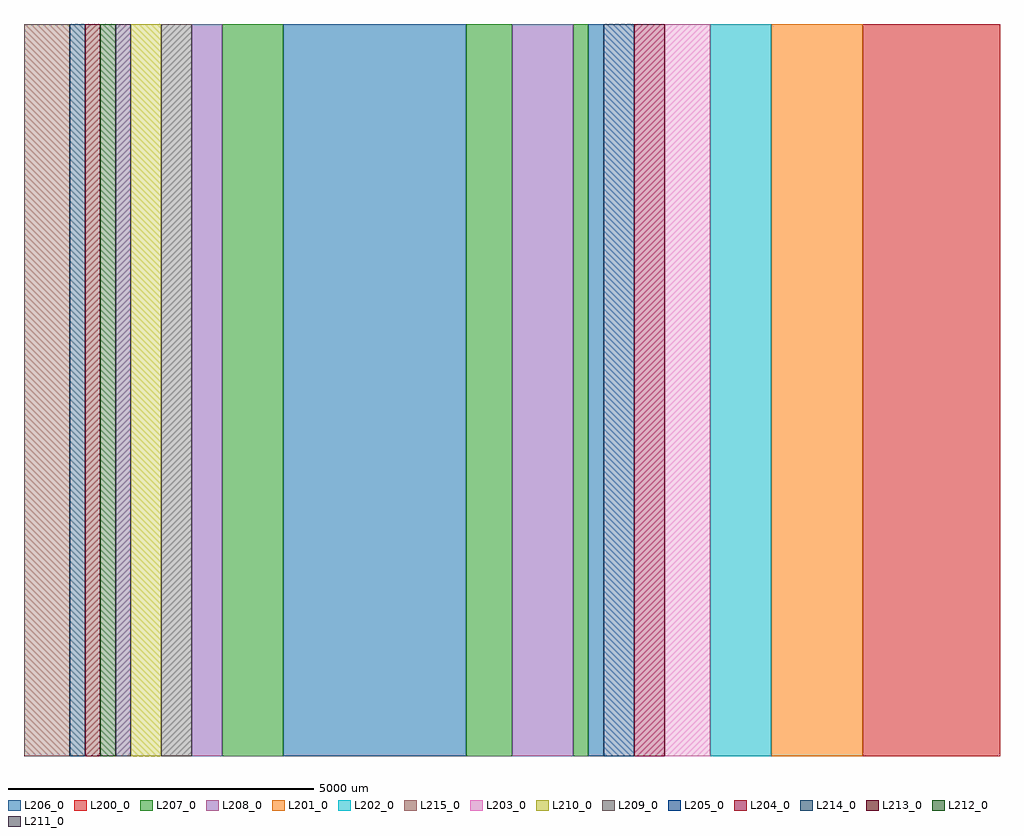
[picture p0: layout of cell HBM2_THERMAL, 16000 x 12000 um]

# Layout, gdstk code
import gdstk
lib = gdstk.Library(unit=1e-6, precision=1e-09)
def R(c, l, rs):  # rectangles x0, y0, x1, y1
    for r in rs: c.add(gdstk.rectangle(r[:2], r[2:], *l))
def A(c, l, x, y, w, h, nx, ny, dx, dy):  # array of equal rectangles
    R(c, l, [(x+i*dx, y+j*dy, x+i*dx+w, y+j*dy+h) for i in range(nx) for j in range(ny)])
L200_0 = (200, 0)
L201_0 = (201, 0)
L202_0 = (202, 0)
L203_0 = (203, 0)
L204_0 = (204, 0)
L205_0 = (205, 0)
L206_0 = (206, 0)
L207_0 = (207, 0)
L208_0 = (208, 0)
L209_0 = (209, 0)
L210_0 = (210, 0)
L211_0 = (211, 0)
L212_0 = (212, 0)
L213_0 = (213, 0)
L214_0 = (214, 0)
L215_0 = (215, 0)

hbm2_thermal = lib.new_cell('HBM2_THERMAL')
A(hbm2_thermal, L200_0, 13750, 0, 250, 750, 9, 16, 250, 750)
A(hbm2_thermal, L201_0, 12250, 0, 250, 750, 6, 16, 250, 750)
A(hbm2_thermal, L202_0, 11250, 0, 250, 750, 4, 16, 250, 750)
A(hbm2_thermal, L203_0, 10500, 0, 250, 750, 3, 16, 250, 750)
A(hbm2_thermal, L204_0, 10000, 0, 250, 750, 1, 16, 0, 750)
A(hbm2_thermal, L204_0, 10250, 0, 250, 750, 1, 16, 0, 750)
A(hbm2_thermal, L205_0, 9500, 0, 250, 750, 1, 16, 0, 750)
A(hbm2_thermal, L205_0, 9750, 0, 250, 750, 1, 16, 0, 750)
A(hbm2_thermal, L206_0, 4250, 0, 250, 750, 12, 16, 250, 750)
A(hbm2_thermal, L206_0, 9250, 0, 250, 750, 1, 16, 0, 750)
A(hbm2_thermal, L207_0, 3250, 0, 250, 750, 4, 16, 250, 750)
A(hbm2_thermal, L207_0, 7250, 0, 250, 750, 3, 16, 250, 750)
A(hbm2_thermal, L207_0, 9000, 0, 250, 750, 1, 16, 0, 750)
A(hbm2_thermal, L208_0, 2750, 0, 250, 750, 1, 16, 0, 750)
A(hbm2_thermal, L208_0, 3000, 0, 250, 750, 1, 16, 0, 750)
A(hbm2_thermal, L208_0, 8000, 0, 250, 750, 4, 16, 250, 750)
A(hbm2_thermal, L209_0, 2250, 0, 250, 750, 1, 16, 0, 750)
A(hbm2_thermal, L209_0, 2500, 0, 250, 750, 1, 16, 0, 750)
A(hbm2_thermal, L210_0, 1750, 0, 250, 750, 1, 16, 0, 750)
A(hbm2_thermal, L210_0, 2000, 0, 250, 750, 1, 16, 0, 750)
A(hbm2_thermal, L211_0, 1500, 0, 250, 750, 1, 16, 0, 750)
A(hbm2_thermal, L212_0, 1250, 0, 250, 750, 1, 16, 0, 750)
A(hbm2_thermal, L213_0, 1000, 0, 250, 750, 1, 16, 0, 750)
A(hbm2_thermal, L214_0, 750, 0, 250, 750, 1, 16, 0, 750)
A(hbm2_thermal, L215_0, 0, 0, 250, 750, 3, 16, 250, 750)

lib.write_gds('HBM2_THERMAL.gds')
